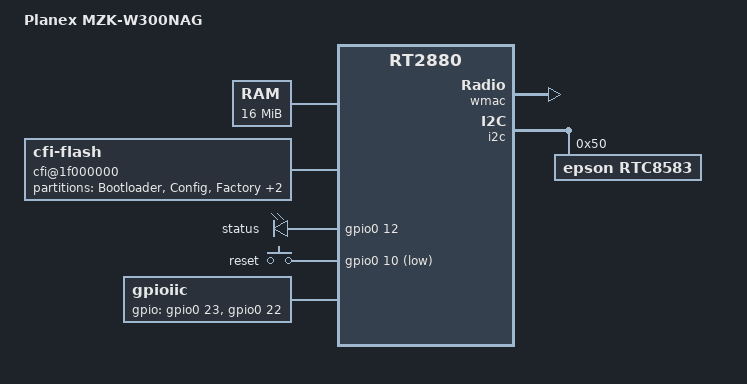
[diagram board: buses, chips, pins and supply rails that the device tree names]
/dts-v1/;

#include "fbsd-rt2880.dtsi"

/ {
	compatible = "MZK-W300NAG", "ralink,rt2880-soc";
	model = "Planex MZK-W300NAG";

	memory@0 {
		device_type = "memory";
		reg = <0x08000000 0x1000000>;
	};

	cfi@1f000000 {
		compatible = "cfi-flash";
		reg = <0x1f000000 0x800000>;
		bank-width = <2>;
		device-width = <2>;
		#address-cells = <1>;
		#size-cells = <1>;

		partition@0 {
			label = "Bootloader";
			reg = <0x0 0x30000>;
			read-only;
		};

		devdata: partition@30000 {
			label = "Config";
			reg = <0x00030000 0x00010000>;
			read-only;
		};

		factory: partition@40000 {
			label = "Factory";
			reg = <0x00040000 0x00010000>;
			read-only;
		};
/*
		kernel: partition@50000 {
			label = "kernel";
			reg = <0x00050000 0x000f0000>;
			read-only;
		};
		rootfs: partition@160000 {
			label = "rootfs";
			reg = <0x00140000 0x002a0000>;
			read-only;
		};
*/
		firmware: partition@50000 {
			label = "firmware";
			reg = <0x00050000 0x00390000>;
			read-only;
		};
		cimage: partition@3e0000 {
			label = "Cimage";
			reg = <0x003e0000 0x00020000>;
			read-only;
		};
	};

	gpio-leds {
		compatible = "gpio-leds";

		status {
			label = "status";
			gpios = <&gpio0 12 0>;
		};

	};
	gpio-keys-polled {
		compatible = "gpio-keys-polled";
		#address-cells = <1>;
		#size-cells = <0>;
		poll-interval = <20>;

		reset {
			label = "reset";
			gpios = <&gpio0 10 1>;
			linux,code = <0x198>;
		};

	};

	gpioiic {
		compatible = "gpioiic";
		gpios = <&gpio0 23 0
			&gpio0 22 0>;
		gpio-names = "scl", "sda";
	};

	rtl8366rb {
		compatible = "realtek,rtl8366rb";
	};

};

&ethernet {
	mtd-mac-address = <&factory 0x28>;
	port-mode = "gigasw";
};

&wmac {
	ralink,mtd-eeprom = <&factory 0>;
};

&i2c {
	status = "okay";
	rtc8583 {
		status = "okay";
		compatible = "epson,rtc8583";
		reg = <0x50>;
	};
};

